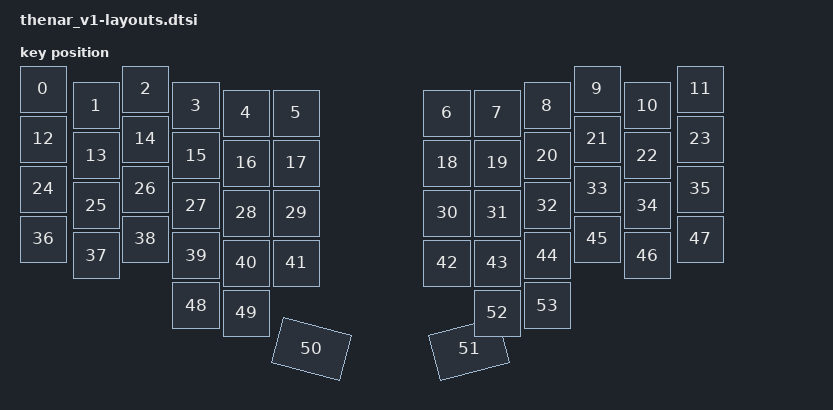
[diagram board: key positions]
// SPDX-License-Identifier: MIT
//
// Physical key positions for ZMK Studio. Identical to rc1 (same key
// layout) - so this file is a copy of config/boards/shields/thenar/
// thenar-layouts.dtsi. If the v1 PCB layout shifts (e.g. ergogen
// outline drift), regenerate from v1/ergogen/config.yaml.

#include <physical_layouts.dtsi>

/ {
    physical_layout0: physical_layout_0 {
        compatible = "zmk,physical-layout";
        display-name = "Thenar v1";

        kscan = <&kscan_direct>;
        transform = <&default_transform>;

        keys
            //                            w   h    x    y     rot    rx    ry
            // Num row
            = <&key_physical_attrs 100 100  200    0       0     0     0>
            , <&key_physical_attrs 100 100  306   33       0     0     0>
            , <&key_physical_attrs 100 100  406    0       0     0     0>
            , <&key_physical_attrs 100 100  506   33       0     0     0>
            , <&key_physical_attrs 100 100  606   48       0     0     0>
            , <&key_physical_attrs 100 100  706   48       0     0     0>
            , <&key_physical_attrs 100 100 1008   48       0     0     0>
            , <&key_physical_attrs 100 100 1108   48       0     0     0>
            , <&key_physical_attrs 100 100 1208   33       0     0     0>
            , <&key_physical_attrs 100 100 1308    0       0     0     0>
            , <&key_physical_attrs 100 100 1408   33       0     0     0>
            , <&key_physical_attrs 100 100 1514    0       0     0     0>
            // Top row
            , <&key_physical_attrs 100 100  200  100       0     0     0>
            , <&key_physical_attrs 100 100  306  133       0     0     0>
            , <&key_physical_attrs 100 100  406  100       0     0     0>
            , <&key_physical_attrs 100 100  506  133       0     0     0>
            , <&key_physical_attrs 100 100  606  148       0     0     0>
            , <&key_physical_attrs 100 100  706  148       0     0     0>
            , <&key_physical_attrs 100 100 1008  148       0     0     0>
            , <&key_physical_attrs 100 100 1108  148       0     0     0>
            , <&key_physical_attrs 100 100 1208  133       0     0     0>
            , <&key_physical_attrs 100 100 1308  100       0     0     0>
            , <&key_physical_attrs 100 100 1408  133       0     0     0>
            , <&key_physical_attrs 100 100 1514  100       0     0     0>
            // Home row
            , <&key_physical_attrs 100 100  200  200       0     0     0>
            , <&key_physical_attrs 100 100  306  233       0     0     0>
            , <&key_physical_attrs 100 100  406  200       0     0     0>
            , <&key_physical_attrs 100 100  506  233       0     0     0>
            , <&key_physical_attrs 100 100  606  248       0     0     0>
            , <&key_physical_attrs 100 100  706  248       0     0     0>
            , <&key_physical_attrs 100 100 1008  248       0     0     0>
            , <&key_physical_attrs 100 100 1108  248       0     0     0>
            , <&key_physical_attrs 100 100 1208  233       0     0     0>
            , <&key_physical_attrs 100 100 1308  200       0     0     0>
            , <&key_physical_attrs 100 100 1408  233       0     0     0>
            , <&key_physical_attrs 100 100 1514  200       0     0     0>
            // Bottom row
            , <&key_physical_attrs 100 100  200  300       0     0     0>
            , <&key_physical_attrs 100 100  306  333       0     0     0>
            , <&key_physical_attrs 100 100  406  300       0     0     0>
            , <&key_physical_attrs 100 100  506  333       0     0     0>
            , <&key_physical_attrs 100 100  606  348       0     0     0>
            , <&key_physical_attrs 100 100  706  348       0     0     0>
            , <&key_physical_attrs 100 100 1008  348       0     0     0>
            , <&key_physical_attrs 100 100 1108  348       0     0     0>
            , <&key_physical_attrs 100 100 1208  333       0     0     0>
            , <&key_physical_attrs 100 100 1308  300       0     0     0>
            , <&key_physical_attrs 100 100 1408  333       0     0     0>
            , <&key_physical_attrs 100 100 1514  300       0     0     0>
            // Mod row + thumb cluster
            , <&key_physical_attrs 100 100  506  433       0     0     0>
            , <&key_physical_attrs 100 100  606  448       0     0     0>
            , <&key_physical_attrs 150 100  712  520    1500   787   570>
            , <&key_physical_attrs 150 100 1027  520 (-1500)  1102   570>
            , <&key_physical_attrs 100 100 1108  448       0     0     0>
            , <&key_physical_attrs 100 100 1208  433       0     0     0>
            ;
    };
};
